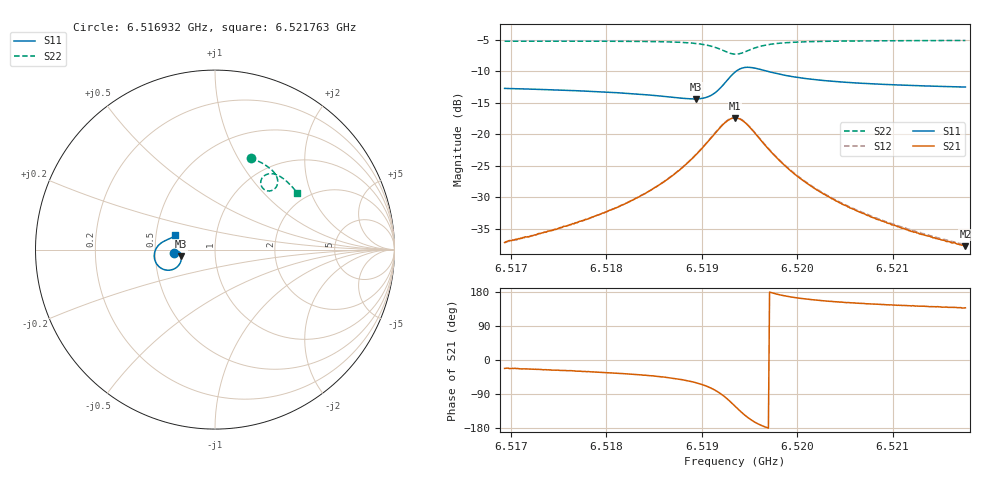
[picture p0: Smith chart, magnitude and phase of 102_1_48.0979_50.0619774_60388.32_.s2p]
#  HZ  S  RI  R  50.00
! Rohde & Schwarz Vector Network Analyzer
! Rohde-Schwarz,ZNB20-2Port,1311601062101988,3.16
! Created: UTC 12/23/2023, 3:44:50 AM
! freq[Hz]  re:S11  im:S11  re:S21  im:S21  re:S12  im:S12  re:S22  im:S22
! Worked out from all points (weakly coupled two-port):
!   401 points, 6.516932 GHz to 6.521763 GHz, reference 50 ohm
!   highest |S21| = -17.37 dB at 6.519348 GHz (marker M1); lowest = -37.7 dB at 6.521763 GHz (marker M2)
!   lowest |S11| = -14.4 dB at 6.518937 GHz (marker M3), VSWR 1.47, Z = 34.1 - j2.62 ohm
!   |S11| at or under -10 dB: start of sweep to 6.519358 GHz; 6.519693 GHz to end of sweep
!   |S22| runs from -7.3 to -5.1 dB; largest |S21 - S12| = 0.0041
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6.5169321e9  -0.2311 -0.0186  0.0129 -0.00525  0.013 -0.00466  0.1985 0.511
6.5174515e9  -0.2252 -0.011  0.0158 -0.00792  0.016 -0.00735  0.2369 0.4948
6.5177414e9  -0.221 -0.00768  0.0179 -0.0103  0.0182 -0.00967  0.2584 0.4839
6.5182003e9  -0.212 -0.00539  0.0228 -0.0168  0.0234 -0.0162  0.293 0.4628
6.5185506e9  -0.2018 -0.00964  0.0287 -0.0274  0.0296 -0.0265  0.32 0.44
6.5187438e9  -0.1944 -0.0179  0.0326 -0.0387  0.0339 -0.0379  0.3349 0.4222
6.5189371e9  -0.1876 -0.037  0.0347 -0.0594  0.0366 -0.0589  0.3476 0.3955
6.5190337e9  -0.1876 -0.0544  0.0316 -0.0764  0.0341 -0.0758  0.3496 0.3766
6.5191183e9  -0.1946 -0.0756  0.0221 -0.0956  0.0252 -0.0955  0.3451 0.3565
6.5192511e9  -0.2361 -0.1111  -0.0205 -0.1237  -0.017 -0.1253  0.3131 0.3282
6.5192994e9  -0.2634 -0.1149  -0.0457 -0.1245  -0.0424 -0.1267  0.2934 0.3271
6.5193478e9  -0.2928 -0.1077  -0.0712 -0.1151  -0.0684 -0.118  0.2741 0.335
6.5193961e9  -0.3175 -0.0895  -0.0913 -0.0966  -0.0892 -0.0998  0.2603 0.351
6.5194565e9  -0.335 -0.0586  -0.1034 -0.0678  -0.1022 -0.0712  0.2547 0.3745
6.5195652e9  -0.3343 -0.00904  -0.0975 -0.0254  -0.0974 -0.0286  0.2692 0.4067
6.5196618e9  -0.3202 0.0175  -0.0821 -0.0051  -0.0828 -0.00743  0.2894 0.4197
6.5198913e9  -0.2893 0.0439  -0.0536 0.0112  -0.0544 0.00958  0.329 0.4213
6.520157e9  -0.2681 0.054  -0.036 0.0137  -0.0366 0.0128  0.3594 0.4092
6.5205435e9  -0.2507 0.0614  -0.0232 0.0127  -0.0238 0.0121  0.391 0.3874
6.5209662e9  -0.2391 0.0676  -0.0162 0.0112  -0.0168 0.0107  0.418 0.3624
6.5213406e9  -0.2314 0.0729  -0.0124 0.00986  -0.0129 0.00972  0.4385 0.34
6.5217634e9  -0.2241 0.0786  -0.00961 0.00875  -0.0101 0.00877  0.4592 0.3136
